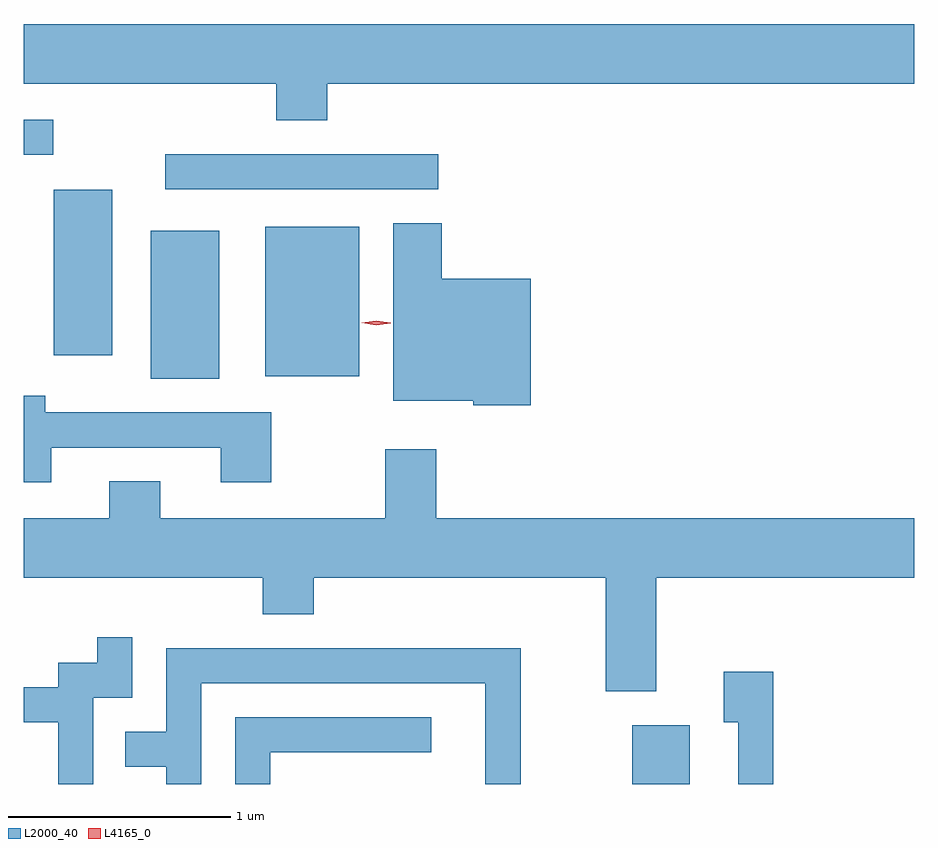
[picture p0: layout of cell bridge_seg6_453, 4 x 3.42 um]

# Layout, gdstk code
import gdstk
lib = gdstk.Library(unit=1e-6, precision=1e-09)
def R(c, l, rs):  # rectangles x0, y0, x1, y1
    for r in rs: c.add(gdstk.rectangle(r[:2], r[2:], *l))
def P(c, l, *ps):  # polygons
    for p in ps: c.add(gdstk.Polygon(p, *l))
L2000_40 = (2000, 40)
L4165_0 = (4165, 0)

bridge_seg6_453 = lib.new_cell('bridge_seg6_453')
R(bridge_seg6_453, L2000_40, [(691.801,1571.309,692.059,1571.574), (689.636,1573.131,689.944,1573.794), (690.151,1573.141,690.574,1573.814), (689.201,1573.236,689.464,1573.979), (689.703,1573.981,690.928,1574.139), (689.067,1574.136,689.198,1574.294)])
P(bridge_seg6_453, L2000_40, [(690.429,1574.456),(693.067,1574.456),(693.067,1574.724),(689.067,1574.724),(689.067,1574.456),(690.201,1574.456),(690.201,1574.291),(690.429,1574.291)],
  [(691.344,1573.579),(690.944,1573.579),(690.944,1573.829),(690.726,1573.829),(690.726,1573.031),(691.086,1573.031),(691.086,1573.011),(691.344,1573.011)],
  [(689.189,1572.821),(689.951,1572.821),(689.951,1572.666),(690.179,1572.666),(690.179,1572.979),(689.164,1572.979),(689.164,1573.054),(689.067,1573.054),(689.067,1572.666),(689.189,1572.666)],
  [(691.909,1572.236),(693.067,1572.236),(693.067,1572.504),(690.919,1572.504),(690.919,1572.814),(690.691,1572.814),(690.691,1572.504),(689.679,1572.504),(689.679,1572.669),(689.451,1572.669),(689.451,1572.504),(689.067,1572.504),(689.067,1572.236),(690.141,1572.236),(690.141,1572.071),(690.369,1572.071),(690.369,1572.236),(691.681,1572.236),(691.681,1571.726),(691.909,1571.726)],
  [(689.379,1571.696),(689.554,1571.696),(689.554,1571.968),(689.396,1571.968),(689.396,1571.854),(689.221,1571.854),(689.221,1571.744),(689.067,1571.744),(689.067,1571.586),(689.221,1571.586),(689.221,1571.309),(689.379,1571.309)],
  [(689.864,1571.761),(691.141,1571.761),(691.141,1571.309),(691.299,1571.309),(691.299,1571.919),(689.706,1571.919),(689.706,1571.544),(689.523,1571.544),(689.523,1571.386),(689.706,1571.386),(689.706,1571.309),(689.864,1571.309)],
  [(692.434,1571.814),(692.211,1571.814),(692.211,1571.586),(692.276,1571.586),(692.276,1571.309),(692.434,1571.309)],
  [(690.174,1571.451),(690.898,1571.451),(690.898,1571.609),(690.016,1571.609),(690.016,1571.309),(690.174,1571.309)])
P(bridge_seg6_453, L4165_0, [(690.65,1573.371),(690.584,1573.381),(690.583,1573.382),(690.584,1573.382),(690.65,1573.391),(690.715,1573.381),(690.716,1573.381),(690.715,1573.38)])

lib.write_gds('bridge_seg6_453.gds')
